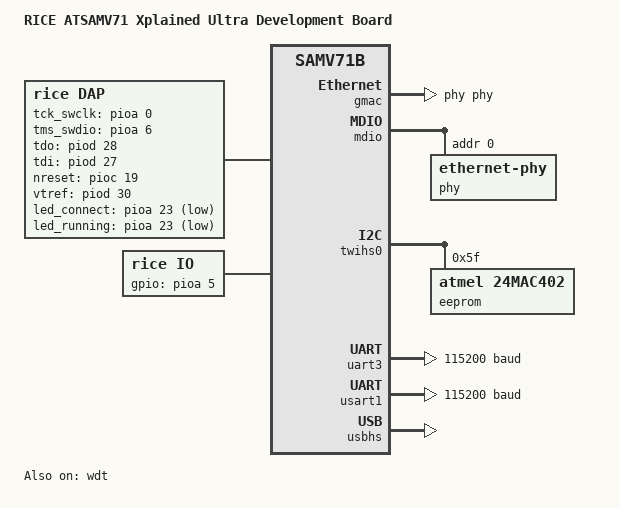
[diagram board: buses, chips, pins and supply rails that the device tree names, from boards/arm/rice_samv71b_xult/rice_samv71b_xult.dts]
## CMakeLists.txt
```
cmake_minimum_required(VERSION 3.20.0)

# building for a bare-metal target, not an os
set(CMAKE_SYSTEM_NAME Generic)

# we will need to set languages after the zephyr package import, but languages none
# here will prevent cmake from trying to grab any host toolchains
project(RICEProbe LANGUAGES NONE)

# determine the repository version based off of git tags, and build
# this value into the firmware
execute_process(
    COMMAND git describe --always --long --dirty --match "v[0-9]*\.[0-9]*\.[0-9]*"
    OUTPUT_VARIABLE REPO_VERSION_STRING
    OUTPUT_STRIP_TRAILING_WHITESPACE
)
set(CONFIG_REPO_VERSION_STRING "\"${REPO_VERSION_STRING}\"" CACHE INTERNAL "repository version full string")

# must be set before importing the zephyr package
list(APPEND BOARD_ROOT "${CMAKE_CURRENT_LIST_DIR}")
list(APPEND DTS_ROOT "${CMAKE_CURRENT_LIST_DIR}")
# if no other board set, default to 'rice_samv71b_xult'
set(BOARD rice_samv71b_xult CACHE STRING "selected zephyr board")
# firmware output file name
set(CONFIG_KERNEL_BIN_NAME \"riceprobe_${REPO_VERSION_STRING}\" CACHE STRING "build output filename" FORCE)

find_package(Zephyr REQUIRED HINTS "${CMAKE_CURRENT_SOURCE_DIR}/modules/zephyr")
enable_language(C)

target_sources(app PRIVATE
    "src/main.c"
    "src/nvs.c"
    "src/usb_msos.c"
    "src/dap/dap.c"
    "src/dap/commands_general.c"
    "src/dap/commands_jtag.c"
    "src/dap/commands_swd.c"
    "src/dap/commands_swo.c"
    "src/dap/commands_transfer.c"
    "src/dap/transport_tcp.c"
    "src/dap/transport_usb.c"
    "src/io/io.c"
    "src/io/commands_general.c"
    "src/io/commands_gpio.c"
    "src/io/commands_pinctrl.c"
    "src/io/transport_usb.c"
    "src/vcp/usb.c"
    "src/vcp/vcp.c"
    "src/utf8.c"
)

target_include_directories(app PRIVATE
    "src"
)

target_compile_options(app PRIVATE -Wall -Werror -fanalyzer -save-temps=obj)

zephyr_linker_sources(DATA_SECTIONS
    "src/dap/transport.ld"
    "src/io/transport.ld"
)
```

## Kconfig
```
config REPO_VERSION_STRING
    string "Repository semver-compatible version string"

config DAP_TCP_PORT
    int "Binding port for Dap driver TCP socket transport"
    default 30047

config IO_TCP_PORT
    int "Binding port for IO driver TCP socket transport"
    default 30059

config VCP_TCP_PORT
    int "Binding port for Virtual COM Port driver TCP socket transport"
    default 30071

config PRODUCT_MANUFACTURER
    string "Name of the product manufacturer"
    default "Nick Kraus"

config PRODUCT_DESCRIPTOR
    string "Short descriptor of the product"
    default "RICEProbe IO CMSIS-DAP"

config PRODUCT_SERIAL_FORMAT
    string "Defines the format and length of the product serial number"
    default "MMMM-YYWWNNNNNNC"

# USB descriptor values should inherit from the project descriptors
if USB_DEVICE_STACK

config USB_DEVICE_MANUFACTURER
    default PRODUCT_MANUFACTURER

config USB_DEVICE_PRODUCT
    default PRODUCT_DESCRIPTOR

config USB_DEVICE_SN
    default PRODUCT_SERIAL_FORMAT

endif # USB_DEVICE_STACK

module = DAP
module-str = dap
source "subsys/logging/Kconfig.template.log_config"

module = IO
module-str = io
source "subsys/logging/Kconfig.template.log_config"

module = VCP
module-str = vcp
source "subsys/logging/Kconfig.template.log_config"

source "Kconfig.zephyr"
```

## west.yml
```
manifest:
  defaults:
    remote: zephyrproject-rtos

  remotes:
    - name: zephyrproject-rtos
      url-base: https://github.com/zephyrproject-rtos

    - name: nick-kraus
      url-base: https://github.com/nick-kraus

  projects:
    - name: zephyr
      revision: 063ce9caf54fa656f02ae48f3c9d537659a10dec
      path: firmware/modules/zephyr
      west-commands: scripts/west-commands.yml

    # projects below are lifted from zephyr 063ce9caf5 west.yml, with unused projects removed
    - name: hal_atmel
      revision: 942d664e48f7a2725933a93facc112b87b1de32b
      path: firmware/modules/hal/atmel

    - name: hal_stm32
      revision: 89ef0a3383edebf661073073bcdf6e2836fe90ee
      path: firmware/modules/hal/stm32

    - name: cmsis
      revision: 4b96cbb174678dcd3ca86e11e1f24bc5f8726da0
      path: firmware/modules/hal/cmsis

    - name: mbedtls
      revision: 7053083b0cff8462464e3cbb826e87852fc03da6
      path: firmware/modules/crypto/mbedtls

    - name: mcuboot
      revision: 0c0470e294dcfb52aab92299356a5f3caa0aa52b
      path: firmware/modules/mcuboot

    - name: picolibc
      revision: d07c38ff051386f8e09a143ea0a6c1d6d66dd1d8
      path: firmware/modules/lib/picolibc

    - name: segger
      revision: 9d0191285956cef43daf411edc2f1a7788346def
      path: firmware/modules/debug/segger
```

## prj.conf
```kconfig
# Device Driver Configs

CONFIG_GPIO=y

CONFIG_FLASH=y
CONFIG_FLASH_MAP=y

CONFIG_MDIO=y

CONFIG_USE_SEGGER_RTT=y
CONFIG_SEGGER_RTT_MAX_NUM_DOWN_BUFFERS=1
CONFIG_SEGGER_RTT_MAX_NUM_UP_BUFFERS=1
CONFIG_SEGGER_RTT_BUFFER_SIZE_UP=2048
CONFIG_SEGGER_RTT_MODE_NO_BLOCK_SKIP=y

CONFIG_SERIAL=y

CONFIG_UART_INTERRUPT_DRIVEN=y

# Kernel Configs

CONFIG_INIT_STACKS=y
CONFIG_RING_BUFFER=y

# Logging Configs

CONFIG_LOG=y
CONFIG_LOG_BUFFER_SIZE=2048
CONFIG_LOG_TIMESTAMP_64BIT=y

CONFIG_LOG_BACKEND_RTT=y
CONFIG_LOG_BACKEND_RTT_MODE_DROP=y

# Log Level Configs

# certain mdns configurations on a network can cause invalid service logs
# to be spammed at a warning level
CONFIG_DNS_SD_LOG_LEVEL_ERR=y
CONFIG_USB_DRIVER_LOG_LEVEL_WRN=y

# Networking Configs

CONFIG_NETWORKING=y

CONFIG_NET_L2_ETHERNET=y
CONFIG_NET_IPV4=y
CONFIG_NET_IPV6=y
CONFIG_NET_TCP=y
CONFIG_NET_SOCKETS=y
CONFIG_NET_DHCPV4=y

# TODO: we eventually want to use a custom unique hostname with the device serial number, but 
# the current zephyr unique hostname implementation doesn't allow for one long enough
CONFIG_NET_HOSTNAME_ENABLE=y
CONFIG_NET_HOSTNAME="riceprobe"
CONFIG_NET_HOSTNAME_UNIQUE=y

CONFIG_MDNS_RESPONDER=y
CONFIG_DNS_SD=y

CONFIG_NET_LOG=y

# USB Configs

CONFIG_USB_DEVICE_STACK=y

# TODO: change this to an actual reserved value
CONFIG_USB_DEVICE_VID=0xFFFE
# TODO: change this to an actual reserved value
CONFIG_USB_DEVICE_PID=0xFFD1

CONFIG_USB_COMPOSITE_DEVICE=y
CONFIG_USB_SELF_POWERED=n
CONFIG_USB_MAX_POWER=250

CONFIG_USB_MAX_NUM_TRANSFERS=8
```

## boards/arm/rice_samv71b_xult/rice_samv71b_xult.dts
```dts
/dts-v1/;

#include <atmel/samv71q21b.dtsi>
#include <dt-bindings/pinctrl/samv71q-pinctrl.h>

/ {
    model = "RICE ATSAMV71 Xplained Ultra Development Board";
    compatible = "rice,samv71b_xult", "atmel,samv71q21b", "atmel,samv71b";

    chosen {
		zephyr,sram = &sram0;
		zephyr,flash = &flash0;
		zephyr,code-partition = &slot0_partition;
	};

    dap: dap {
        compatible = "rice,dap";

		tck_swclk_gpios = <&pioa 0 GPIO_ACTIVE_HIGH>;
		tms_swdio_gpios = <&pioa 6 GPIO_ACTIVE_HIGH>;
		tdo_gpios = <&piod 28 GPIO_ACTIVE_HIGH>;
		tdi_gpios = <&piod 27 GPIO_ACTIVE_HIGH>;
		nreset_gpios = <&pioc 19 (GPIO_ACTIVE_HIGH | GPIO_OPEN_DRAIN)>;
		vtref_gpios = <&piod 30 (GPIO_ACTIVE_HIGH | GPIO_PULL_DOWN)>;
		led_connect_gpios = <&pioa 23 GPIO_ACTIVE_LOW>;
		led_running_gpios = <&pioa 23 GPIO_ACTIVE_LOW>;

		swo_uart = <&uart3>;

		pinctrl-jtag = <&dap_pinctrl_tdo_swo_gpio>;
		pinctrl-swd = <&dap_pinctrl_tdo_swo_uart>;
    };

	io: io {
        compatible = "rice,io";
        #address-cells = <1>;
        #size-cells = <0>;

		pinctrl-pull-up = <&io_pull_up>;
		pinctrl-pull-down = <&io_pull_down>;
		pinctrl-open-drain = <&io_open_drain>;

		/* TODO: probably change this, just a placeholder */
		gpios = <&pioa 5 GPIO_ACTIVE_HIGH>;
		pin@0 { reg = <0>; fn_gpio { func = "gpio"; idx = <0>; pinctrl = <&io0_gpio>; }; };
    };

    vcp: vcp {
        compatible = "rice,vcp";
        uart = <&usart1>;
    };
};

&cpu0 {
	clock-frequency = <300000000>;
};

&flash0 {
	flash_partitions: partitions {
		compatible = "fixed-partitions";
		#address-cells = <1>;
		#size-cells = <1>;

		/* 64 KBytes */
		boot_partition: partition@0 {
			reg = <0x0 0x00010000>;
			read-only;
		};

		/* 64 KBytes padding */

		/* 896 KBytes */
		slot0_partition: partition@20000 {
			reg = <0x00020000 0x000e0000>;
		};

		/* 896 KBytes */
		slot1_partition: partition@100000 {
			reg = <0x00100000 0x000e0000>;
		};

		/* 64 KBytes */
		scratch_partition: partition@1e0000 {
			reg = <0x001e0000 0x00010000>;
		};

		/* 512 Bytes */
		manufacturing_partition: partition@1f0000 {
			reg = <0x001f0000 0x00000200>;
			read-only;
		};
	};
};

&gmac {
    status = "okay";

    pinctrl-0 = <&gmac_pinctrl>;
    pinctrl-names = "default";

    mac-eeprom = <&eeprom>;
	phy-handle = <&phy>;
};

&mdio {
	status = "okay";

	pinctrl-0 = <&mdio_pinctrl>;
	pinctrl-names = "default";

	phy: ethernet-phy@0 {
		compatible = "ethernet-phy";
		status = "okay";
		reg = <0>;
	};
};

&pinctrl {
	/* dap pinctrl */
	dap_pinctrl_tdo_swo_gpio: dap_pinctrl_tdo_swo_gpio {
		g1 { pinmux = <PD28_GPIO>; };
	};
	dap_pinctrl_tdo_swo_uart: dap_pinctrl_tdo_swo_uart {
		g1 { pinmux = <PD28A_UART3_RXD>; bias-pull-up; };
	};

	/* io pinctrl */
	io_pull_up: io_pull_up { g1 { pinmux = <0>; bias-pull-up; }; };
	io_pull_down: io_pull_down { g1 { pinmux = <0>; bias-pull-down; }; };
	io_open_drain: io_open_drain { g1 { pinmux = <0>; drive-open-drain; }; };

	/* TODO: probably change this, just a placeholder */
	io0_gpio: pa5_gpio { g1 { pinmux = <PA5_GPIO>; }; };

	/* other pinctrl */
	gmac_pinctrl: gmac_pinctrl {
        g1 { pinmux = <PD0A_GMAC_GTXCK>,
                      <PD1A_GMAC_GTXEN>,
                      <PD2A_GMAC_GTX0>,
                      <PD3A_GMAC_GTX1>,
                      <PD4A_GMAC_GRXDV>,
                      <PD5A_GMAC_GRX0>,
                      <PD6A_GMAC_GRX1>,
                      <PD7A_GMAC_GRXER>;
	}; };

    mdio_pinctrl: mdio_pinctrl {
        g1 { pinmux = <PD8A_GMAC_GMDC>, <PD9A_GMAC_GMDIO>; };
    };

    twihs0_pinctrl: twihs0_pinctrl {
        g1 { pinmux = <PA4A_TWI0_TWCK>, <PA3A_TWI0_TWD>; };
    };

	usart1_pinctrl: usart1_pinctrl {
		g1 { pinmux = <PA21A_USART1_RXD>, <PB4D_USART1_TXD>; };
	};
};

&pioa {
	status = "okay";
};

&piob {
	status = "okay";
};

&pioc {
	status = "okay";
};

&piod {
	status = "okay";
};

&pioe {
	status = "okay";
};

&twihs0 {
    status = "okay";

    pinctrl-0 = <&twihs0_pinctrl>;
    pinctrl-names = "default";

	eeprom: eeprom@5f {
        compatible = "atmel,24mac402";
        reg = <0x5f>;
    };
};

&uart3 {
	status = "okay";
	current-speed = <115200>;
	pinctrl-0 = <&dap_pinctrl_tdo_swo_uart>;
	pinctrl-names = "default";
};

&usart1 {
    status = "okay";
	current-speed = <115200>;
    pinctrl-0 = <&usart1_pinctrl>;
	pinctrl-names = "default";
};

usbd: &usbhs {
	status = "okay";
};

&wdt {
	status = "okay";
};
```

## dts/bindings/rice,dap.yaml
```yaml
description: CMSIS-DAP protocol driver

compatible: "rice,dap"

include: [base.yaml, pinctrl-device.yaml]

properties:
    tck_swclk_gpios:
      type: phandle-array
      required: true
      description: JTAG TCK or SWD SWCLK GPIO Pin.

    tms_swdio_gpios:
      type: phandle-array
      required: true
      description: JTAG TMS or SWD SWDIO GPIO Pin.

    tdo_gpios:
      type: phandle-array
      required: true
      description: JTAG TDO GPIO Pin.

    tdi_gpios:
      type: phandle-array
      required: true
      description: JTAG TDI GPIO Pin.

    nreset_gpios:
      type: phandle-array
      required: true
      description: Active-low Reset GPIO Pin.
    
    vtref_gpios:
      type: phandle-array
      required: true
      description: Target IO Voltage Reference.

    led_connect_gpios:
      type: phandle-array
      required: true
      description: Connect LED GPIO Pin.

    led_running_gpios:
      type: phandle-array
      required: true
      description: Running LED GPIO Pin.

    swo_uart:
      type: phandle
      required: true
      description: SWO UART Device.

    pinctrl-jtag:
      type: phandles
      description: JTAG pinctrl state node.

    pinctrl-swd:
      type: phandles
      description: SWD pinctrl state node.
```

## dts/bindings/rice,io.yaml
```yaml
description: RICE I/O protocol driver

compatible: "rice,io"

include: base.yaml

properties:
  pinctrl-pull-up:
    type: phandle
    description: Phandle to pinctrl node with no muxing, only pull-up

  pinctrl-pull-down:
    type: phandle
    description: Phandle to pinctrl node with no muxing, only pull-down
  
  pinctrl-open-drain:
    type: phandle
    description: Phandle to pinctrl node with no muxing, only open-drain drive
  
  gpios:
    type: phandle-array
    required: true
    description: Phandles of each pins GPIO

child-binding:
  properties:
    reg:
      type: array
      required: true
      description: Pin reference number
      
  child-binding:
    properties:      
      func:
        type: string
        required: true
        description: Pin function type
        enum:
          - "gpio"
          - "uart"
          - "i2c"
      
      idx:
        type: int
        required: true
        description: Index of the pin function type (e.g. UART 1 vs UART 3)

      pinctrl:
        type: phandle
        required: true
        description: Pinctrl node phandle
```

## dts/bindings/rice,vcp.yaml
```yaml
description: USB-to-UART driver

compatible: "rice,vcp"

include: base.yaml

properties:    
    uart:
      type: phandle
      required: true
      description: UART device to use for USB-to-UART device.
```

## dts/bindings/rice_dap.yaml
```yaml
description: CMSIS-DAP protocol driver

compatible: "rice,dap"

include:
    - name: pinctrl-device.yaml

properties:
    label:
      type: string
      required: true

    tck_swclk_gpios:
      type: phandle-array
      required: true
      description: JTAG TCK or SWD SWCLK GPIO Pin.

    tms_swdio_gpios:
      type: phandle-array
      required: true
      description: JTAG TMS or SWD SWDIO GPIO Pin.

    tdo_gpios:
      type: phandle-array
      required: true
      description: JTAG TDO GPIO Pin.

    tdi_gpios:
      type: phandle-array
      required: true
      description: JTAG TDI GPIO Pin.

    nreset_gpios:
      type: phandle-array
      required: true
      description: Active-low Reset GPIO Pin.
    
    vtref_gpios:
      type: phandle-array
      required: true
      description: Target IO Voltage Reference.

    led_connect_gpios:
      type: phandle-array
      required: true
      description: Connect LED GPIO Pin.

        Outputs the connection status of the debug probe.

    led_running_gpios:
      type: phandle-array
      required: true
      description: Connect LED GPIO Pin.

        Outputs the running status of the debug probe.

    swo_uart:
      type: phandle
      required: true
      description: SWO UART Device.
```

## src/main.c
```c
#include <zephyr/drivers/gpio.h>
#include <zephyr/kernel.h>
#include <zephyr/logging/log.h>
#include <zephyr/net/net_if.h>
#include <zephyr/usb/usb_device.h>

#include "nvs.h"
#include "util.h"

LOG_MODULE_REGISTER(main, LOG_LEVEL_INF);

int32_t dap_init(void);
int32_t io_init(void);

static int32_t early_init_ret = 0;
/* runs before main and many zephyr subsystems, to satisfy dependencies for those systems */
int32_t early_init(void) {
   if ((early_init_ret = nvs_init()) < 0) {
        LOG_ERR("nvs initialization failed with error %d", early_init_ret);
        return early_init_ret;
	}

	return 0;
}
/* may need to adjust level and priority based on what system dependencies are pre-empted */
SYS_INIT(early_init, POST_KERNEL, 80);

int32_t main(void) {
	if (early_init_ret < 0) { return early_init_ret; }

	int32_t ret;
	if ((ret = dap_init()) < 0) {
		LOG_ERR("dap initialization failed with error %d", ret);
		return ret;
	}

	if ((ret = io_init()) < 0) {
		LOG_ERR("io initialization failed with error %d", ret);
		return ret;
	}

	const struct device *vcp_device = DEVICE_DT_GET(DT_NODELABEL(vcp));
	FATAL_CHECK(device_is_ready(vcp_device), "failed to ready vcp interface");

	FATAL_CHECK(usb_enable(NULL) == 0, "failed to enable USB");

	struct net_if *iface = net_if_get_first_up();
	net_dhcpv4_start(iface);

	LOG_INF("Main Initialization Finished, Handling Requests Now!");
	return 0;
}
```

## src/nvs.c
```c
#include <zephyr/device.h>
#include <zephyr/kernel.h>
#include <zephyr/logging/log.h>
#include <zephyr/storage/flash_map.h>

LOG_MODULE_REGISTER(nvs);

#define NVS_MFG_TAG_ADDRESS         0
#define NVS_MFG_VERSION_ADDRESS     2
#define NVS_MFG_SERIAL_ADDRESS      4
#define NVS_MFG_UUID_ADDRESS        36

#define NVS_MFG_TAG         0x7A5A
#define NVS_MFG_VERSION     0x0101

static struct {
    char serial_number[32];
    uint8_t uuid[16];
} nvs;

/* this value unfortunately can't be in the above struct because the DNS-SD
 * services are registered in a macro. */
char nvs_dns_txt_record[68];

int32_t nvs_get_serial_number(char *buf, size_t buf_len) {
    if (buf_len <= strlen(nvs.serial_number)) {
        return -ENOBUFS;
    }

    strncpy(buf, nvs.serial_number, buf_len);
    return 0;
}

int32_t nvs_get_uuid(char *buf, size_t buf_len) {
    if (buf_len < sizeof(nvs.uuid)) {
        return -ENOBUFS;
    }

    memcpy(buf, nvs.uuid, buf_len);
    return 0;
}

int32_t nvs_get_uuid_str(char *buf, size_t buf_len) {
    /* two characters for each byte, plus four separators and null terminator */
    if (buf_len < sizeof(nvs.uuid) * 2 + 4 + 1) {
        return -ENOBUFS;
    }

    snprintk(
        buf,
        buf_len,
        "%02x%02x%02x%02x-%02x%02x-%02x%02x-%02x%02x-%02x%02x%02x%02x%02x%02x",
        nvs.uuid[0], nvs.uuid[1], nvs.uuid[2], nvs.uuid[3], 
        nvs.uuid[4], nvs.uuid[5], nvs.uuid[6], nvs.uuid[7], 
        nvs.uuid[8], nvs.uuid[9], nvs.uuid[10], nvs.uuid[11], 
        nvs.uuid[12], nvs.uuid[13], nvs.uuid[14], nvs.uuid[15]
    );
    return 0;
}

int32_t nvs_init(void) {
    const struct flash_area *mfg_fa;
    int32_t ret = flash_area_open(FIXED_PARTITION_ID(manufacturing_partition), &mfg_fa);
    if (ret < 0) {
        LOG_ERR("flash open failed with error %d", ret);
        return -EIO;
    }

    uint16_t mfg_tag;
    ret = flash_area_read(mfg_fa, NVS_MFG_TAG_ADDRESS, &mfg_tag, sizeof(mfg_tag));
    if (ret < 0) {
        LOG_ERR("flash read failed with error %d", ret);
        return -EIO;
    } else if (mfg_tag != NVS_MFG_TAG) {
        LOG_ERR("found incorrect manufacturing tag 0x%x", mfg_tag);
        return -EINVAL;
    }

    uint16_t mfg_version;
    ret = flash_area_read(mfg_fa, NVS_MFG_VERSION_ADDRESS, &mfg_version, sizeof(mfg_version));
    if (ret < 0) {
        LOG_ERR("flash read failed with error %d", ret);
        return -EIO;
    } else if (mfg_version != NVS_MFG_VERSION) {
        LOG_ERR("found unsupported manufacturing version %u", mfg_version);
        return -ENOTSUP;
    }

    ret = flash_area_read(mfg_fa, NVS_MFG_SERIAL_ADDRESS, &nvs.serial_number, sizeof(nvs.serial_number));
    if (ret < 0) {
        LOG_ERR("flash read failed with error %d", ret);
        return -EIO;
    } else if (nvs.serial_number[sizeof(nvs.serial_number) - 1] != '\0') {
        LOG_ERR("serial number doesn't end with null terminator");
        return -EINVAL;
    }

    ret = flash_area_read(mfg_fa, NVS_MFG_UUID_ADDRESS, &nvs.uuid, sizeof(nvs.uuid));
    if (ret < 0) {
        LOG_ERR("flash read failed with error %d", ret);
        return -EIO;
    }

    flash_area_close(mfg_fa);

    /* dns-sd txt records from the various interfaces are all identical, ideal to
	 * create one copy here and share between all services. see rfc 6763 for the
	 * format of the txt record */
    uint8_t entry_idx = 0;
    /* first entry is serial number, length is strlen("serial=") + strlen(serial) */
    snprintk(
        &nvs_dns_txt_record[entry_idx],
        sizeof(nvs_dns_txt_record) - entry_idx,
        "%cserial=%s",
        7 + strlen(nvs.serial_number),
        nvs.serial_number
    );
    entry_idx = strlen(nvs_dns_txt_record);
    /* second entry is uuid, length is strlen("uuid=") + 36 (uuid string length) */
    snprintk(
        &nvs_dns_txt_record[entry_idx],
        sizeof(nvs_dns_txt_record) - entry_idx,
        "%cuuid=%02x%02x%02x%02x-%02x%02x-%02x%02x-%02x%02x-%02x%02x%02x%02x%02x%02x",
        5 + 36,
        nvs.uuid[0], nvs.uuid[1], nvs.uuid[2], nvs.uuid[3], 
        nvs.uuid[4], nvs.uuid[5], nvs.uuid[6], nvs.uuid[7], 
        nvs.uuid[8], nvs.uuid[9], nvs.uuid[10], nvs.uuid[11], 
        nvs.uuid[12], nvs.uuid[13], nvs.uuid[14], nvs.uuid[15]
    );

    return 0;
}
```

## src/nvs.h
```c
#ifndef __NVS_H__
#define __NVS_H__

#include <stdint.h>

/** @brief Initializes the non-volatile storage data. */
int32_t nvs_init(void);

/** @brief Retrieves the device serial number from non-volatile storage. */
int32_t nvs_get_serial_number(char *buf, size_t buf_len);

/** @brief Retrieves the device UUID from non-volatile storage. */
int32_t nvs_get_uuid(uint8_t *buf, size_t buf_len);

/** @brief Retrieves and formats the device UUID from non-volatile storage to a string. */
int32_t nvs_get_uuid_str(char *buf, size_t buf_len);

/** @brief A string of DNS-SD text records. */
extern const char nvs_dns_txt_record[68];

#endif /* __NVS_H__ */
```

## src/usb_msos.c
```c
#include <zephyr/kernel.h>
#include <zephyr/logging/log.h>
#include <zephyr/usb/usb_device.h>
#include <usb_descriptor.h>

#include "nvs.h"

LOG_MODULE_REGISTER(usb, LOG_LEVEL_DBG);

/* The format of the MS OS descriptor is based on the definition in the Microsoft document titled
 * 'Microsoft OS Descriptors Overview'.
 *
 * These descriptors are read on first device initialization by Windows to automatically install
 * WinUSB driver support for this device (and all devices with matching USB VID and PID), so that
 * manually driver installation is not required by the end user.
 *
 * For testing purposes, the registry entry named 'oscv' located at
 * 'HLKM/SYSTEM/CurrentControlSet/Control/UsbFlags/vvvvpppprrrr' can be deleted to force Windows
 * to re-query the device for MS OS descriptor support. For more details please see
 * https://docs.microsoft.com/en-us/windows-hardware/drivers/usbcon/usb-device-specific-registry-settings */

#define USB_MSOS_VENDOR_CODE    0x20

struct usb_msos_string_descr {
    uint8_t bLength;
	uint8_t bDescriptorType;
	uint8_t bString[14];
	uint16_t wVendor;
} __packed usb_msos_string_descr = {
	.bLength = sizeof(struct usb_msos_string_descr),
	.bDescriptorType = USB_DESC_STRING,
	.bString = {
		'M', 0, 'S', 0, 'F', 0, 'T', 0,
		'1', 0, '0', 0, '0', 0,
	},
	.wVendor = USB_MSOS_VENDOR_CODE,
};

struct usb_msos_compatid_func {
    uint8_t bFirstInterfaceNumber;
	uint8_t bReserved;
	uint8_t compatibleID[8];
	uint8_t subCompatibleID[8];
	uint8_t reserved[6];
} __packed;

struct usb_msos_compatid_descr {
    uint32_t dwLength;
	uint16_t bcdVersion;
	uint16_t wIndex;
	uint8_t bCount;
	uint8_t bReserved[7];
    struct usb_msos_compatid_func func0;
    struct usb_msos_compatid_func func1;
} __packed usb_msos_compatid_descr = {
    .dwLength = sizeof(struct usb_msos_compatid_descr),
	.bcdVersion = 0x100,
	.wIndex = 4,
	.bCount = 2,
	.bReserved = {0, 0, 0, 0, 0, 0, 0},
    .func0 = {
        .bFirstInterfaceNumber = 0,
        .bReserved = 1,
        .compatibleID = {'W', 'I', 'N', 'U', 'S', 'B', 0, 0},
        .subCompatibleID = {0, 0, 0, 0, 0, 0, 0, 0},
        .reserved = {0, 0, 0, 0, 0, 0},
    },
    .func1 = {
        .bFirstInterfaceNumber = 0,
        .bReserved = 1,
        .compatibleID = {'W', 'I', 'N', 'U', 'S', 'B', 0, 0},
        .subCompatibleID = {0, 0, 0, 0, 0, 0, 0, 0},
        .reserved = {0, 0, 0, 0, 0, 0},
    }
};

void usb_msos_set_func0_interface(uint8_t intf) {
    usb_msos_compatid_descr.func0.bFirstInterfaceNumber = intf;
}

void usb_msos_set_func1_interface(uint8_t intf) {
    usb_msos_compatid_descr.func1.bFirstInterfaceNumber = intf;
}

struct usb_msos_device_intf_guid {
    uint32_t dwSize;
    uint32_t dwPropertyDataType;
    uint16_t wPropertyNameLength;
    uint8_t bPropertyName[40];
    uint32_t dwPropertyDataLength;
    uint8_t bPropertyData[78];
} __packed;

struct usb_msos_extprop_descr {
    uint32_t dwLength;
	uint16_t bcdVersion;
	uint16_t wIndex;
	uint16_t wCount;
    struct usb_msos_device_intf_guid func;
} __packed usb_msos_extprop_descr = {
    .dwLength = sizeof(struct usb_msos_extprop_descr),
	.bcdVersion = 0x100,
	.wIndex = 5,
	.wCount = 1,
    .func = {
        .dwSize = sizeof(struct usb_msos_device_intf_guid),
        .dwPropertyDataType = 1,
        .wPropertyNameLength = 40,
        .bPropertyName = {
            'D', 0, 'e', 0, 'v', 0, 'i', 0, 'c', 0, 'e', 0, 'I', 0, 'n', 0,
            't', 0, 'e', 0, 'r', 0, 'f', 0, 'a', 0, 'c', 0, 'e', 0, 'G', 0,
            'U', 0, 'I', 0, 'D', 0, 0, 0
        },
        .dwPropertyDataLength = 78,
        .bPropertyData = {
            '{', 0, 'C', 0, 'D', 0, 'B', 0, '3', 0, 'B', 0, '5', 0, 'A', 0,
            'D', 0, '-', 0, '2', 0, '9', 0, '3', 0, 'B', 0, '-', 0, '4', 0,
            '6', 0, '6', 0, '3', 0, '-', 0, 'A', 0, 'A', 0, '3', 0, '6', 0,
            '-', 0, '1', 0, 'A', 0, 'A', 0, 'E', 0, '4', 0, '6', 0, '4', 0,
            '6', 0, '3', 0, '7', 0, '7', 0, '6', 0, '}', 0, 0, 0
        },
    }
};

int32_t usb_msos_custom_handle_req(struct usb_setup_packet *pSetup, int32_t *len, uint8_t **data) {
	if (usb_reqtype_is_to_device(pSetup)) {
		return -ENOTSUP;
	}

	if (USB_GET_DESCRIPTOR_TYPE(pSetup->wValue) == USB_DESC_STRING &&
		USB_GET_DESCRIPTOR_INDEX(pSetup->wValue) == 0xEE) {

		LOG_DBG("retreiving MS OS v1 string descriptor");
		*data = (uint8_t*) &usb_msos_string_descr;
		*len = sizeof(usb_msos_string_descr);

		return 0;
	}

	return -EINVAL;
}

int32_t usb_msos_vendor_handle_req(struct usb_setup_packet *pSetup, int32_t *len, uint8_t **data) {
	if (usb_reqtype_is_to_device(pSetup)) {
		return -ENOTSUP;
	}

	if (pSetup->bRequest == USB_MSOS_VENDOR_CODE && pSetup->wIndex == 0x04) {
		LOG_DBG("retreiving MS OS v1 compatible ID descriptor");
		*data = (uint8_t*) &usb_msos_compatid_descr;
		*len = sizeof(usb_msos_compatid_descr);

		return 0;
	} else if (pSetup->bRequest == USB_MSOS_VENDOR_CODE && pSetup->wIndex == 0x05) {
        LOG_DBG("retreiving MS OS v1 extended properties descriptor");
        *data = (uint8_t*) &usb_msos_extprop_descr;
        *len = sizeof(usb_msos_extprop_descr);

        return 0;
    }

	return -ENOTSUP;
}

uint8_t *usb_update_sn_string_descriptor(void) {
    static uint8_t serial[sizeof(CONFIG_USB_DEVICE_SN)];

    int32_t ret = nvs_get_serial_number(serial, sizeof(serial));
    if (ret < 0) {
        LOG_WRN("failed to update USB serial number with NVS value");
        serial[0] = '\0';
    }

    return serial;
}
```

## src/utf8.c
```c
#include <zephyr/kernel.h>
#include <zephyr/sys/ring_buffer.h>

int32_t utf8_encode(uint32_t val, uint8_t *buf, size_t buf_len) {
    uint8_t nbytes;
    if (val <= 0x7f) {
        nbytes = 1;
    } else if (val <= 0x7FF) {
        nbytes = 2;
    } else if (val <= 0xFFFF) {
        nbytes = 3;
    } else if (val <= 0x10FFFF) {
        nbytes = 4;
    } else {
        return -EINVAL;
    }

    if (buf == NULL || buf_len < nbytes) return -ENOBUFS;

    if (nbytes == 1) {
        buf[0] = (uint8_t) val;
    } else {
        uint8_t shift = (nbytes - 1) * 6;
        buf[0] = (uint8_t) (0xff << (8 - nbytes) | (val >> shift));

        for (uint8_t i = 1; i < nbytes; i++) {
            buf[i] = (uint8_t) (0x80 | ((val >> (shift - 6 * i)) & 0x3f));
        }
    }

    return nbytes;
}

int32_t utf8_decode(uint8_t *buf, size_t buf_len, uint32_t *result) {
    if (result == NULL || buf == NULL || buf_len < 1) {
        return -ENODATA;
    }

    uint32_t start;
    uint8_t nbytes;
    if (buf[0] <= 0x7f) {
        nbytes = 1;
        start = buf[0];
    } else if ((buf[0] & 0xe0) == 0xc0) {
        nbytes = 2;
        start = buf[0] & 0x1f;
    } else if ((buf[0] & 0xf0) == 0xe0) {
        nbytes = 3;
        start = buf[0] & 0x0f;
    } else if ((buf[0] & 0xf8) == 0xf0) {
        nbytes = 4;
        start = buf[0] & 0x07;
    } else {
        return -EINVAL;
    }

    if (buf_len < nbytes) return -ENODATA;

    *result = start;
    for (uint8_t i = 1; i < nbytes; i++) {
        if ((buf[i] & 0xc0) != 0x80) {
            /* invalid continuation byte */
            return -EINVAL;
        }

        *result = (*result << 6) | (buf[i] & 0x3f);
    }

    return nbytes;
}

int32_t utf8_rbuf_put(struct ring_buf *buf, uint32_t val) {
    uint8_t *put;
    uint32_t put_len = ring_buf_put_claim(buf, &put, 4);

    int32_t utf8_len = utf8_encode(val, put, put_len);
    if (utf8_len < 0) {
        ring_buf_put_finish(buf, 0);
    } else {
        ring_buf_put_finish(buf, utf8_len);
    }

    return utf8_len;
}

int32_t utf8_rbuf_get(struct ring_buf *buf, uint32_t *result) {
    uint8_t *get;
    uint32_t get_len = ring_buf_get_claim(buf, &get, 4);

    int32_t utf8_len = utf8_decode(get, get_len, result);
    if (utf8_len < 0) {
        ring_buf_get_finish(buf, 0);
    } else {
        ring_buf_get_finish(buf, utf8_len);
    }

    return utf8_len;
}
```

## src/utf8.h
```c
#ifndef __UTF8_H__
#define __UTF8_H__

/* encodes 'val' as a utf8 codepoint, into the byte array 'buf' */
int32_t utf8_encode(uint32_t val, uint8_t *buf, size_t buf_len);

/* decodes a utf8 codepoint from byte array 'buf' into 'result' */
int32_t utf8_decode(uint8_t *buf, size_t buf_len, uint32_t *result);

/* encodes 'val' as a utf8 codepoint onto ring buffer 'buf' */
int32_t utf8_rbuf_put(struct ring_buf *buf, uint32_t val);

/* decodes a utf8 codepoint at the start of 'buf' and places it in the result */
int32_t utf8_rbuf_get(struct ring_buf *buf, uint32_t *result);

#endif /* __UTF8_H__ */
```

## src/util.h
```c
#ifndef __UTIL_H__
#define __UTIL_H__

#include <zephyr/kernel.h>
#include <zephyr/sys/byteorder.h>
#include <zephyr/sys/ring_buffer.h>

/* tests a condition, and triggers a kernel oops with a log message on failure */
#define FATAL_CHECK(_cond, _msg)    \
    do {                            \
        if ((_cond) == false) {     \
            LOG_ERR(_msg);          \
            k_oops();               \
        }                           \
    } while (0)

/* busy waits for a set amount of nanoseconds */
static inline void busy_wait_nanos(uint32_t nanos) {
    uint32_t start = k_cycle_get_32();
    uint32_t wait = (uint32_t) (
        (uint64_t) nanos *
        (uint64_t) sys_clock_hw_cycles_per_sec() /
        (uint64_t) NSEC_PER_SEC
    );

    while (true) {
        /* native posix platforms don't progress time unless sleep functions are called */
        IF_ENABLED(CONFIG_ARCH_POSIX, (k_busy_wait(1);));
        uint32_t current = k_cycle_get_32();
        /* the subtraction handles uint32 overflow */ 
        if ((current - start) >= wait) {
            break;
        }
    }
}

/*
 * convenience functions for ring buffers
 */

static inline int32_t ring_buf_get_skip(struct ring_buf *buf, size_t len) {
    uint8_t *ptr = NULL;
    if (ring_buf_get_claim(buf, &ptr, len) != len) return -EMSGSIZE;
    return ring_buf_get_finish(buf, len);
}

static inline int32_t ring_buf_get_le16(struct ring_buf *buf, uint16_t *value) {
    uint8_t *ptr = NULL;
    if (ring_buf_get_claim(buf, &ptr, 2) != 2) return -EMSGSIZE;
    *value = sys_get_le16(ptr);
    return ring_buf_get_finish(buf, 2);
}

static inline int32_t ring_buf_get_le32(struct ring_buf *buf, uint32_t *value) {
    uint8_t *ptr = NULL;
    if (ring_buf_get_claim(buf, &ptr, 4) != 4) return -EMSGSIZE;
    *value = sys_get_le32(ptr);
    return ring_buf_get_finish(buf, 4);
}

static inline int32_t ring_buf_put_le32(struct ring_buf *buf, uint32_t value) {
    uint8_t *ptr = NULL;
    if (ring_buf_put_claim(buf, &ptr, 4) != 4) return -ENOBUFS;
    sys_put_le32(value, ptr);
    return ring_buf_put_finish(buf, 4);
}

#endif /* __UTIL_H__ */
```
